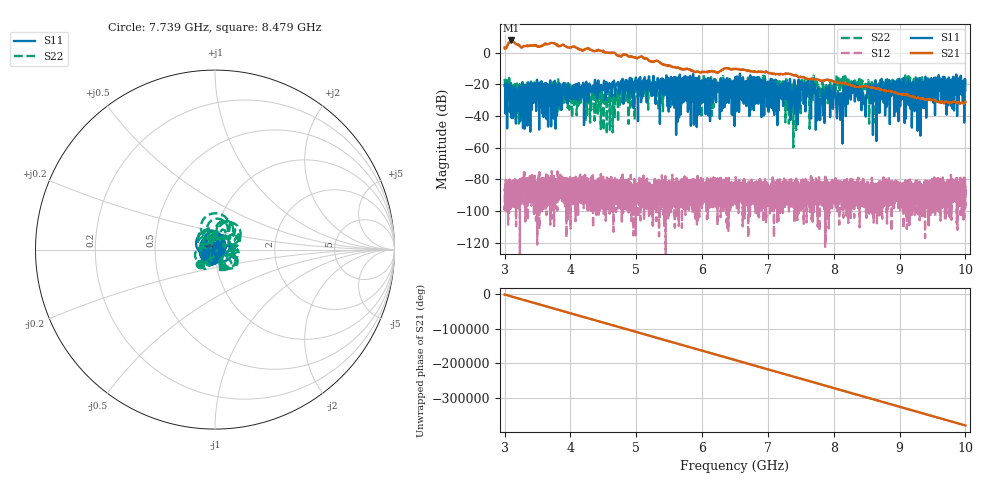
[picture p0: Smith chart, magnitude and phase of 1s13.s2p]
!Agilent Technologies,E8363B,MY43030572,A.06.04.32
!Agilent E8363B: A.06.04.32
!Date: Monday, June 06, 2011 14:26:57
!Correction: S11(Full 2 Port(1,2)) S21(Full 2 Port(1,2)) S12(Full 2 Port(1,2)) S22(Full 2 Port(1,2))
!S2P File: Measurements: S11, S21, S12, S22:
# Hz S  dB  R 50
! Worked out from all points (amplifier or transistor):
!   6401 points, 3 GHz to 10 GHz, reference 50 ohm
!   highest |S21| = 7.7 dB at 3.095 GHz (marker M1)
!   |S21| within 3 dB of that: 3.587 GHz to 3.793 GHz (206 MHz wide, 5.58 % of centre)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
!   unconditionally stable (mu >= 1): start of sweep to end of sweep
!   at 4.166 GHz: K = 17896.16, MAG = 1.9 dB, |S12| = -93.0 dB
!   at 6.5 GHz: K = 39505.78, MAG = -10.1 dB, |S12| = -88.0 dB
!   at 10 GHz: K = 1439123.65, MAG = -30.8 dB, |S12| = -98.4 dB
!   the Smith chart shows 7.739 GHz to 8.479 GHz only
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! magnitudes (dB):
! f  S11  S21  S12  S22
! 3 GHz  -20.8  3.3  -96.1  -16.5
! 3.095 GHz  -20.4  7.7  -92.3  -19.2
! 3.224 GHz  -21.3  4.7  -82.7  -20.2
! 3.419 GHz  -23.6  4.4  -80.6  -21.7
! 4.167 GHz  -22.4  1.9  -85.4  -24.3
! 4.354 GHz  -21.8  1.1  -82.3  -20.9
! 4.648 GHz  -21.3  0.0  -93.2  -29.2
! 5.131 GHz  -16.2  -3.6  -84.2  -19.4
! 5.334 GHz  -19.4  -5.5  -90.8  -30.4
! 5.896 GHz  -33.8  -12.3  -95.3  -20.2
! 6.5 GHz  -19.0  -10.2  -88.0  -21.8
! 7.052 GHz  -22.8  -13.0  -89.3  -18.2
! 7.353 GHz  -27.3  -13.7  -80.1  -21.2
! 7.667 GHz  -17.6  -16.6  -79.0  -18.5
! 7.761 GHz  -22.2  -16.9  -83.9  -20.4
! 7.904 GHz  -27.0  -17.1  -88.8  -27.5
! 8.108 GHz  -26.2  -19.2  -87.8  -21.0
! 8.275 GHz  -22.7  -20.4  -86.1  -19.4
! 8.455 GHz  -27.4  -21.1  -91.4  -21.3
! 8.543 GHz  -19.9  -21.8  -87.8  -23.1
! 8.834 GHz  -19.5  -24.0  -96.8  -20.5
! 10 GHz  -19.2  -30.9  -98.4  -19.3
